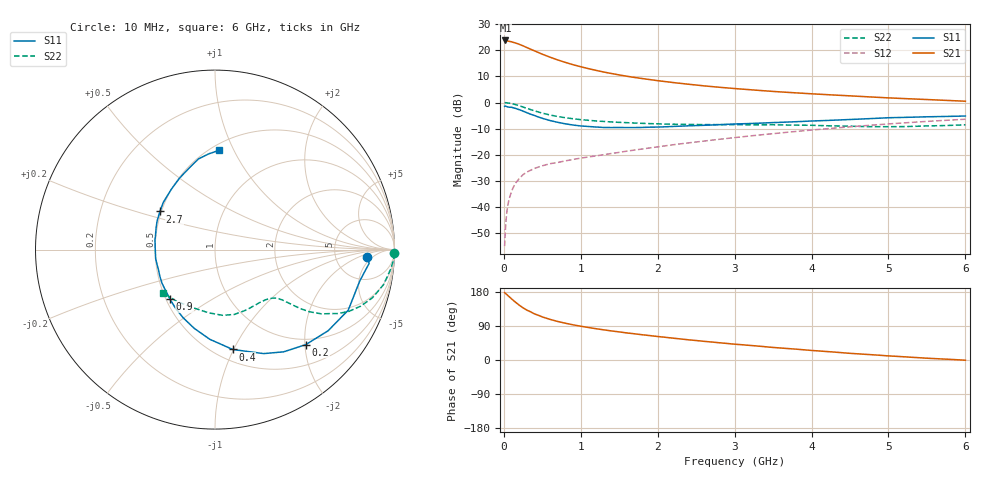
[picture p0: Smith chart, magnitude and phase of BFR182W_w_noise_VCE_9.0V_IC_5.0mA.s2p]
! Infineon Technologies  Discrete & RF Semiconductors
! BFR182W
! VCE =  9.0 V,  IC =  5.0 mA
! Common Emitter S-Parameters:  Jan 2017
# GHz  S  MA  R  50
!  f  S11  S21  S12  S22
! GHz  MAG  ANG  MAG  ANG  MAG  ANG  MAG  ANG
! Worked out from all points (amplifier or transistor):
!   77 points, 10 MHz to 6 GHz, reference 50 ohm
!   highest |S21| = 23.8 dB at 20 MHz (marker M1)
!   |S21| within 3 dB of that: start of sweep to 321.6 MHz
!   unconditionally stable (mu >= 1): 1.354 GHz to 2.843 GHz
!   at 130 MHz: K = 0.17, MSG = 27.5 dB, |S12| = -32.0 dB
!   at 2.2 GHz: K = 1.04, MAG = 10.6 dB, |S12| = -16.1 dB
!   at 6 GHz: K = 0.83, MSG = 3.4 dB, |S12| = -6.4 dB
!   lowest NFmin = 0.88 dB at 450 MHz
!   S11 on the Smith chart (normalised r, x): 10 MHz: 11, -3; 200 MHz: 0.88, -2.02; 400 MHz: 0.61, -0.99; 900 MHz: 0.52, -0.33; 2.7 GHz: 0.49, +0.24; 6 GHz: 0.55, +0.88
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0.01  0.848 -2.6  15.27 177.7  0.0018 93.0  0.9994 -1.2
0.02  0.8623 -5.1  15.41 176.1  0.0036 88.3  0.9983 -2.6
0.05  0.8251 -12.3  15.07 170.5  0.0106 82.5  0.9863 -6.1
0.1  0.8154 -24.5  14.55 161.3  0.02 77.9  0.959 -11.8
0.15  0.7755 -35.7  13.82 152.7  0.0286 71.8  0.9174 -17.0
0.2  0.7322 -46.3  13.01 144.8  0.0353 67.1  0.8709 -21.2
0.25  0.6862 -56.1  12.15 137.6  0.042 63.8  0.8226 -24.7
0.3  0.6399 -64.9  11.26 131.6  0.047 60.8  0.7738 -27.4
0.4  0.5649 -80.0  9.73 121.5  0.0553 56.8  0.6933 -31.1
0.5  0.5007 -93.3  8.413 113.7  0.0619 54.7  0.6287 -33.4
0.6  0.4537 -104.8  7.386 107.2  0.0679 53.5  0.5797 -34.6
0.7  0.4196 -114.9  6.536 101.7  0.0716 53.5  0.5418 -35.3
0.9  0.3723 -132.5  5.296 92.8  0.0818 54.0  0.491 -36.3
1.1  0.3495 -147.7  4.456 85.8  0.0913 56.1  0.4585 -37.2
1.3  0.3343 -160.4  3.834 79.5  0.1011 57.1  0.4358 -38.4
1.6  0.3326 -176.3  3.188 71.4  0.1181 59.3  0.4131 -41.2
2.1  0.3445 163.2  2.519 59.9  0.1492 60.8  0.3893 -48.1
2.7  0.3729 145.2  2.026 47.5  0.1911 60.7  0.3792 -58.8
3.1  0.3938 135.1  1.809 40.2  0.222 59.5  0.377 -66.1
4.1  0.4497 114.6  1.445 23.8  0.3075 53.9  0.3643 -85.8
5.1  0.5171 99.0  1.212 9.7  0.3999 45.3  0.3464 -113.9
6  0.5537 87.5  1.062 -0.5  0.4809 36.1  0.3765 -140.0
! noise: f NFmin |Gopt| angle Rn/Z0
0.45  0.88  0.26  32  0.17
0.9  0.98  0.21  59  0.16
1.9  1.55  0.19  162  0.13
2.4  1.83  0.21  176  0.17
